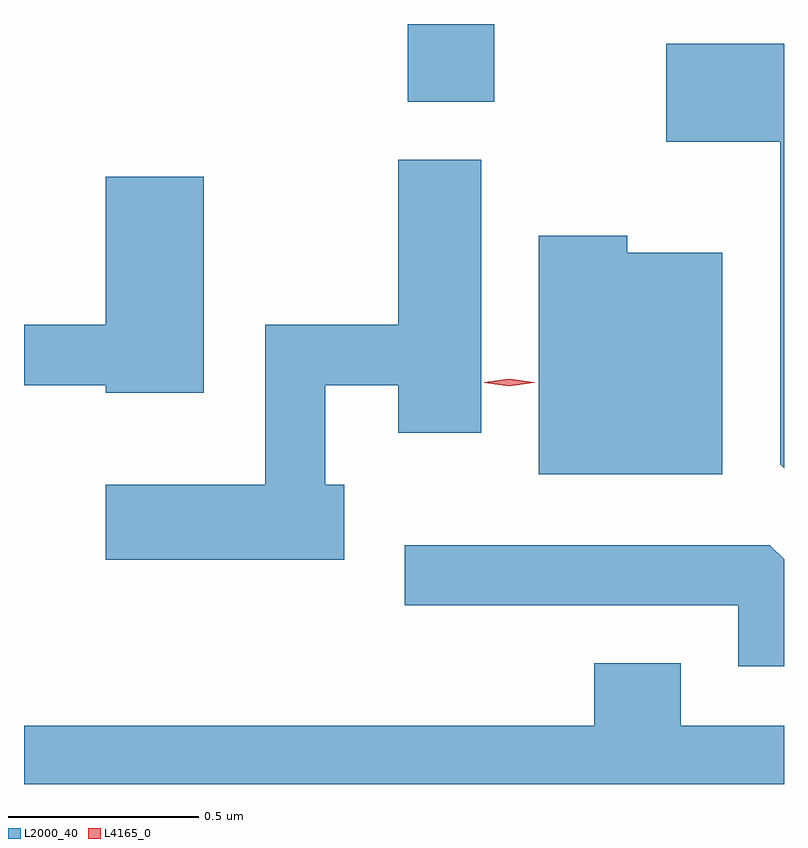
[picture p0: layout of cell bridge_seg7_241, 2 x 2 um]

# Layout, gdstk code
import gdstk
lib = gdstk.Library(unit=1e-6, precision=1e-09)
def R(c, l, rs):  # rectangles x0, y0, x1, y1
    for r in rs: c.add(gdstk.rectangle(r[:2], r[2:], *l))
def P(c, l, *ps):  # polygons
    for p in ps: c.add(gdstk.Polygon(p, *l))
L2000_40 = (2000, 40)
L4165_0 = (4165, 0)

bridge_seg7_241 = lib.new_cell('bridge_seg7_241')
R(bridge_seg7_241, L2000_40, [(1783.011,1696.246,1783.239,1696.451)])
P(bridge_seg7_241, L2000_40, [(1784.001,1696.399),(1783.691,1696.399),(1783.691,1696.141),(1783.991,1696.141),(1783.991,1695.292),(1784.001,1695.282)],
  [(1782.844,1695.239),(1782.794,1695.239),(1782.794,1695.501),(1782.986,1695.501),(1782.986,1695.376),(1783.204,1695.376),(1783.204,1696.094),(1782.986,1696.094),(1782.986,1695.659),(1782.636,1695.659),(1782.636,1695.239),(1782.216,1695.239),(1782.216,1695.041),(1782.844,1695.041)],
  [(1782.474,1696.049),(1782.216,1696.049),(1782.216,1695.659),(1782.001,1695.659),(1782.001,1695.501),(1782.216,1695.501),(1782.216,1695.481),(1782.474,1695.481)],
  [(1783.839,1695.849),(1783.589,1695.849),(1783.589,1695.894),(1783.356,1695.894),(1783.356,1695.266),(1783.839,1695.266)],
  [(1784.001,1695.042),(1783.964,1695.079),(1783.003,1695.079),(1783.003,1694.921),(1783.881,1694.921),(1783.881,1694.761),(1784.001,1694.761)],
  [(1784.001,1694.604),(1783.729,1694.604),(1783.729,1694.769),(1783.501,1694.769),(1783.501,1694.604),(1782.001,1694.604),(1782.001,1694.451),(1784.001,1694.451)])
P(bridge_seg7_241, L4165_0, [(1783.278,1695.498),(1783.212,1695.507),(1783.212,1695.508),(1783.212,1695.508),(1783.278,1695.518),(1783.343,1695.508),(1783.344,1695.508),(1783.343,1695.507)])

lib.write_gds('bridge_seg7_241.gds')
